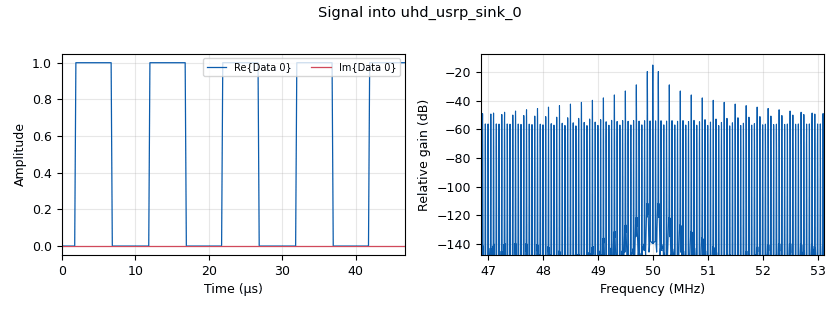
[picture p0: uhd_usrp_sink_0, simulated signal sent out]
options:
  parameters:
    author: J_CASTAÑEDA&E_REY
    copyright: UIS
    description: Generar señales desde el radio definido por software
    generate_options: qt_gui
    id: DEMO_PRACTICA1
    output_language: python
    title: CpnexionUSRP
  states: {}

blocks:
- name: GRX
  id: variable_qtgui_range
  parameters:
    label: Ganancia del Receptor
    start: '0'
    step: '0.5'
    stop: '31.5'
    value: '0'
  states: {}
- name: GTX
  id: variable_qtgui_range
  parameters:
    label: Ganancia del transmisor
    start: '0'
    step: '1'
    stop: '30'
    value: '0'
  states: {}
- name: fc
  id: variable_qtgui_range
  parameters:
    label: Frecuencia Portadora
    start: 50e6
    step: 1e5
    stop: 2200e6
    value: 50e6
  states: {}
- name: fc_1
  id: variable_qtgui_range
  parameters:
    label: Frecuencia Portadora Receptor
    start: 50e6
    step: 1e5
    stop: 2200e6
    value: 50e6
  states: {}
- name: k1
  id: variable_qtgui_range
  parameters:
    label: Habilita real
    start: '0'
    step: '1'
    stop: '1'
    value: '1'
  states: {}
- name: k2
  id: variable_qtgui_range
  parameters:
    label: Habilita imaginaria
    start: '0'
    step: '1'
    stop: '1'
    value: '0'
  states: {}
- name: samp_rate
  id: variable
  parameters:
    value: 12.5e6/2
  states: {}
- name: analog_sig_source_x_0
  id: analog_sig_source_x
  parameters:
    amp: '1'
    comment: parte Real de g(t)
    freq: 1e5
    offset: '0'
    phase: '0'
    samp_rate: samp_rate
    type: float
    waveform: analog.GR_SQR_WAVE
  states: {}
- name: analog_sig_source_x_0_0
  id: analog_sig_source_x
  parameters:
    amp: '1'
    comment: parte Imaginaria de g(t)
    freq: 1e6
    offset: '0'
    phase: '0'
    samp_rate: samp_rate
    type: float
    waveform: analog.GR_COS_WAVE
  states: {}
- name: blocks_float_to_complex_0
  id: blocks_float_to_complex
  parameters: {}
  states: {}
- name: blocks_multiply_const_vxx_0
  id: blocks_multiply_const_vxx
  parameters:
    const: k1
    type: float
  states: {}
- name: blocks_multiply_const_vxx_0_0
  id: blocks_multiply_const_vxx
  parameters:
    const: k2
    type: float
  states: {}
- name: qtgui_freq_sink_x_0
  id: qtgui_freq_sink_x
  parameters:
    bw: samp_rate
    fc: '0'
    fftsize: '1024'
    nconnections: '2'
    type: complex
  states: {}
- name: qtgui_time_sink_x_0
  id: qtgui_time_sink_x
  parameters:
    color2: magenta
    color3: cyan
    color4: red
    label1: Real TX
    label2: Img TX
    label3: Real RX
    label4: Img RX
    nconnections: '2'
    size: '1024'
    srate: samp_rate
    type: complex
  states: {}
- name: uhd_usrp_sink_0
  id: uhd_usrp_sink
  parameters:
    ant0: '"TX/RX"'
    center_freq0: fc
    gain0: GTX
    samp_rate: samp_rate
    sync: pc_clock
    type: fc32
  states: {}
- name: uhd_usrp_source_0
  id: uhd_usrp_source
  parameters:
    ant0: '"RX2"'
    center_freq0: fc_1
    gain0: GRX
    samp_rate: samp_rate
    sync: pc_clock
    type: fc32
  states: {}

connections:
- [analog_sig_source_x_0, '0', blocks_multiply_const_vxx_0, '0']
- [analog_sig_source_x_0_0, '0', blocks_multiply_const_vxx_0_0, '0']
- [blocks_float_to_complex_0, '0', qtgui_freq_sink_x_0, '0']
- [blocks_float_to_complex_0, '0', qtgui_time_sink_x_0, '0']
- [blocks_float_to_complex_0, '0', uhd_usrp_sink_0, '0']
- [blocks_multiply_const_vxx_0, '0', blocks_float_to_complex_0, '0']
- [blocks_multiply_const_vxx_0_0, '0', blocks_float_to_complex_0, '1']
- [uhd_usrp_source_0, '0', qtgui_freq_sink_x_0, '1']
- [uhd_usrp_source_0, '0', qtgui_time_sink_x_0, '1']

metadata:
  file_format: 1
